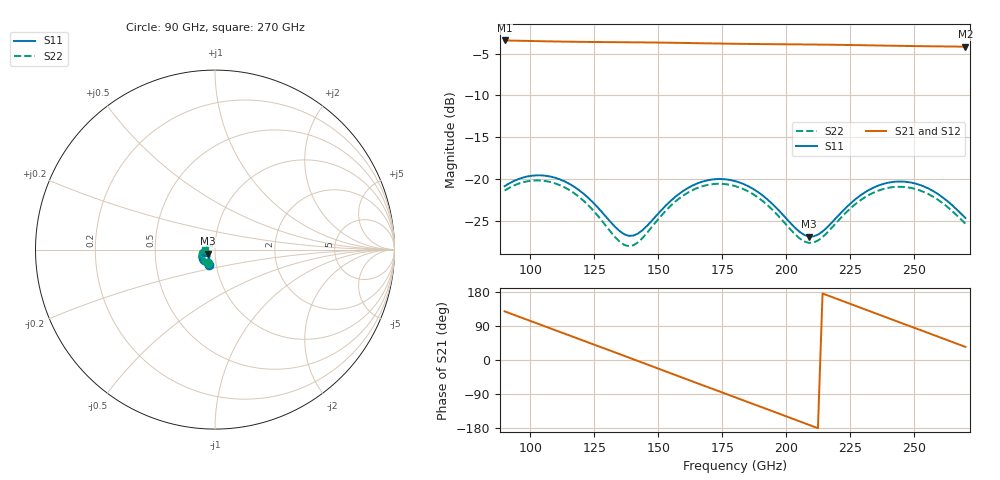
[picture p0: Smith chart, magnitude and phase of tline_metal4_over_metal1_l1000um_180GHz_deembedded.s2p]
! Created with skrf 2.0.1 (http://scikit-rf.org).
# GHz S DB R 50.0
!freq dBS11 angS11 dBS21 angS21 dBS12 angS12 dBS22 angS22
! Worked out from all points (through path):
!   101 points, 90 GHz to 270 GHz, reference 50 ohm
!   highest |S21| = -3.43 dB at 90 GHz (marker M1); lowest = -4.2 dB at 270 GHz (marker M2)
!   group delay of S21, straight-line fit = 7 ps
!   lowest |S11| = -26.8 dB at 208.8 GHz (marker M3), VSWR 1.10, Z = 46.2 - j2.16 ohm
!   |S11| at or under -10 dB: start of sweep to end of sweep
!   |S22| runs from -28.0 to -20.1 dB; largest |S21 - S12| = 7.6e-14
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90  -20.84 -113.4  -3.43 128.4  -3.43 128.4  -21.36 -118.0
97.2  -19.80 -124.6  -3.48 110.3  -3.48 110.3  -20.36 -129.8
104.4  -19.55 -136.8  -3.52 92.2  -3.52 92.2  -20.16 -142.6
111.6  -20.02 -148.5  -3.56 74.1  -3.56 74.1  -20.71 -154.9
120.6  -21.67 -160.0  -3.60 51.5  -3.60 51.5  -22.50 -167.1
129.6  -24.48 -162.2  -3.63 28.9  -3.63 28.9  -25.58 -169.4
138.6  -26.76 -144.1  -3.65 6.2  -3.65 6.2  -28.00 -148.6
151.2  -23.71 -121.6  -3.69 -25.7  -3.69 -25.7  -24.35 -126.2
165.6  -20.46 -133.2  -3.76 -62.1  -3.76 -62.1  -21.01 -140.3
172.8  -19.99 -143.3  -3.79 -80.2  -3.79 -80.2  -20.55 -151.3
180  -20.22 -153.6  -3.83 -98.3  -3.83 -98.3  -20.82 -162.3
187.2  -21.18 -162.5  -3.85 -116.4  -3.85 -116.4  -21.81 -171.9
196.2  -23.44 -168.2  -3.88 -139.1  -3.88 -139.1  -24.15 -178.3
208.8  -26.84 -149.1  -3.91 -170.9  -3.91 -170.9  -27.60 -158.8
210.6  -26.83 -143.7  -3.92 -175.4  -3.92 -175.4  -27.56 -153.4
217.8  -25.18 -128.0  -3.94 166.3  -3.94 166.3  -25.80 -138.2
225  -22.93 -125.5  -3.98 148.1  -3.98 148.1  -23.51 -136.7
234  -21.02 -132.6  -4.02 125.4  -4.02 125.4  -21.61 -144.8
241.2  -20.35 -141.4  -4.06 107.2  -4.06 107.2  -20.96 -154.3
248.4  -20.38 -150.8  -4.09 89.1  -4.09 89.1  -21.02 -164.3
255.6  -21.12 -159.2  -4.12 71.0  -4.12 71.0  -21.79 -173.2
270  -24.63 -163.3  -4.17 34.7  -4.17 34.7  -25.31 -177.9
